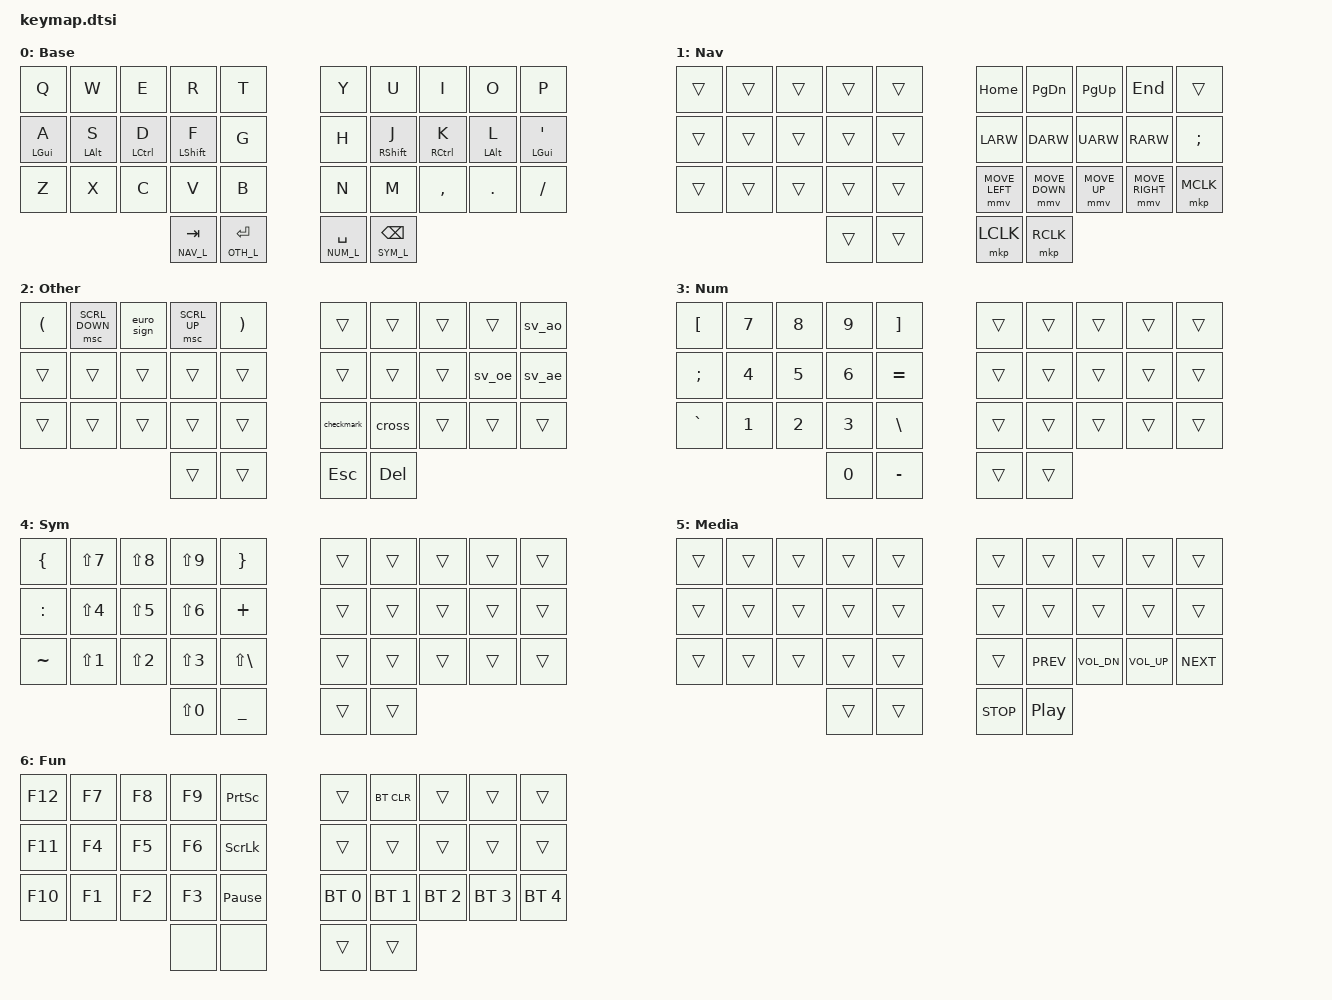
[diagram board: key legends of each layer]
/*
 * Generic 34-key split keyboard keymap layers (Base/Nav/Other/Num/Sym/Media/Fun).
 *
 * Assumes the target board's `bindings` list follows the conventional 34-key
 * ordering: 5 columns x 3 rows per side, then 4 thumb keys, as documented in
 * zmk-nodefree-config's keypos_def/keypos_34keys.h.
 *
 * Prerequisites (include before this file):
 *   - "layers.h" from this repo
 *   - "behaviors.dtsi" from this repo (provides &hm)
 *   - "chars.dtsi" from this repo (provides &euro_sign, &checkmark, &cross)
 *   - zmk-nodefree-config's international_chars/swedish.dtsi (provides
 *     &sv_ao, &sv_oe, &sv_ae)
 *   - <dt-bindings/zmk/pointing.h>, plus CONFIG_ZMK_POINTING=y in the
 *     board/shield .conf (provides &mmv, &mkp, &msc)
 */

/ {
    keymap {
        compatible = "zmk,keymap";

        /* RC(0,0) RC(0,1) RC(0,2) RC(0,3) RC(0,4)   RC(0,5) RC(0,6) RC(0,7) RC(0,8) RC(0,9) */
        /* RC(1,0) RC(1,1) RC(1,2) RC(1,3) RC(1,4)   RC(1,5) RC(1,6) RC(1,7) RC(1,8) RC(1,9) */
        /* RC(2,0) RC(2,1) RC(2,2) RC(2,3) RC(2,4)   RC(2,5) RC(2,6) RC(2,7) RC(2,8) RC(2,9) */
        /*                        RC(3,3)  RC(3,4)   RC(3,5) RC(3,6) */

        default_layer {
            label = "Base";
            bindings = <
                &kp Q      &kp W      &kp E       &kp R          &kp T         &kp Y            &kp U          &kp I       &kp O      &kp P
                &hm LGUI A &hm LALT S &hm LCTRL D &hm LSHFT F    &kp G         &kp H            &hm RSHFT J    &hm RCTRL K &hm LALT L &hm LGUI QUOT
                &kp Z      &kp X      &kp C       &kp V          &kp B         &kp N            &kp M          &kp COMMA   &kp DOT    &kp FSLH
                                                  &lt NAV_L TAB  &lt OTH_L RET &lt NUM_L SPACE  &lt SYM_L BKSP
            >;
        };

        nav_layer {
            label = "Nav";
            bindings = <
                &trans     &trans     &trans      &trans          &trans       &kp HOME       &kp PG_DN      &kp PG_UP    &kp END         &trans
                &trans     &trans     &trans      &trans          &trans       &kp LARW       &kp DARW       &kp UARW     &kp RARW        &kp SEMI
                &trans     &trans     &trans      &trans          &trans       &mmv MOVE_LEFT &mmv MOVE_DOWN &mmv MOVE_UP &mmv MOVE_RIGHT &mkp MCLK
                                                  &trans          &trans       &mkp LCLK      &mkp RCLK
            >;
        };

        other_layer {
            label = "Other";
            bindings = <
                &kp LPAR   &msc SCRL_DOWN &euro_sign  &msc SCRL_UP    &kp RPAR     &trans           &trans        &trans       &trans     &sv_ao
                &trans     &trans         &trans      &trans          &trans       &trans           &trans        &trans       &sv_oe     &sv_ae
                &trans     &trans         &trans      &trans          &trans       &checkmark       &cross        &trans       &trans     &trans
                                                      &trans          &trans       &kp ESC          &kp DEL
            >;
        };

        num_layer {
            label = "Num";
            bindings = <
                &kp LBKT   &kp N7     &kp N8      &kp N9          &kp RBKT      &trans          &trans         &trans      &trans     &trans
                &kp SEMI   &kp N4     &kp N5      &kp N6          &kp EQUAL     &trans          &trans         &trans      &trans     &trans
                &kp GRAVE  &kp N1     &kp N2      &kp N3          &kp BSLH      &trans          &trans         &trans      &trans     &trans
                                                  &kp N0          &kp MINUS     &trans          &trans
            >;
        };

        sym_layer {
            label = "Sym";
            bindings = <
                &kp LBRC     &kp LS(N7)  &kp LS(N8)  &kp LS(N9) &kp RBRC        &trans &trans   &trans    &trans    &trans
                &kp COLON    &kp LS(N4)  &kp LS(N5)  &kp LS(N6) &kp PLUS        &trans &trans   &trans    &trans    &trans
                &kp TILDE    &kp LS(N1)  &kp LS(N2)  &kp LS(N3) &kp LS(BSLH)    &trans &trans   &trans    &trans    &trans
                                                     &kp LS(N0) &kp UNDER       &trans &trans
            >;
        };

        media_layer {
            label = "Media";
            bindings = <
                &trans	   &trans     &trans      &trans          &trans       &trans           &trans         &trans       &trans       &trans
                &trans     &trans     &trans      &trans          &trans       &trans           &trans         &trans       &trans       &trans
                &trans     &trans     &trans      &trans          &trans       &trans           &kp C_PREV     &kp C_VOL_DN &kp C_VOL_UP &kp C_NEXT
                                                  &trans          &trans       &kp C_STOP       &kp C_PLAY_PAUSE
            >;
        };

        fun_layer {
            label = "Fun";
            bindings = <
                &kp F12     &kp F7     &kp F8      &kp F9     &kp PSCRN         &trans          &bt BT_CLR     &trans       &trans       &trans
                &kp F11     &kp F4     &kp F5      &kp F6     &kp SLCK          &trans          &trans         &trans       &trans       &trans
                &kp F10     &kp F1     &kp F2      &kp F3     &kp PAUSE_BREAK   &bt BT_SEL 0    &bt BT_SEL 1   &bt BT_SEL 2 &bt BT_SEL 3 &bt BT_SEL 4
                                                   &none      &none             &trans          &trans
            >;
        };
    };
};
